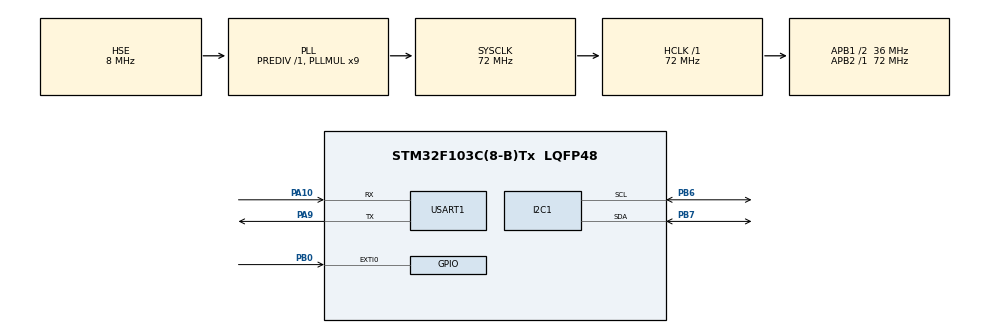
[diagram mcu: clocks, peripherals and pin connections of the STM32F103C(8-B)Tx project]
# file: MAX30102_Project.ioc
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Mcu.Family=STM32F1
Mcu.Name=STM32F103C(8-B)Tx
Mcu.Package=LQFP48
NVIC.EXTI0_IRQn=true\:0\:0\:false\:false\:true\:true\:true\:true
NVIC.PriorityGroup=NVIC_PRIORITYGROUP_4
NVIC.USART1_IRQn=true\:0\:0\:false\:false\:true\:true\:true\:true
PA10.Mode=Asynchronous
PA10.Signal=USART1_RX
PA13.Mode=Serial_Wire
PA13.Signal=SYS_JTMS-SWDIO
PA14.Mode=Serial_Wire
PA14.Signal=SYS_JTCK-SWCLK
PA9.Mode=Asynchronous
PA9.Signal=USART1_TX
PB0.GPIO_ModeDefaultEXTI=GPIO_MODE_IT_FALLING
PB0.GPIO_PuPd=GPIO_PULLUP
PB0.Signal=GPXTI0
PB6.Mode=I2C
PB6.Signal=I2C1_SCL
PB7.Mode=I2C
PB7.Signal=I2C1_SDA
PD0-OSC_IN.Mode=HSE-External-Oscillator
PD0-OSC_IN.Signal=RCC_OSC_IN
PD1-OSC_OUT.Mode=HSE-External-Oscillator
PD1-OSC_OUT.Signal=RCC_OSC_OUT
ProjectManager.HeapSize=0x200
ProjectManager.StackSize=0x400
ProjectManager.TargetToolchain=MDK-ARM V5.32
RCC.AHBFreq_Value=72000000
RCC.APB1CLKDivider=RCC_HCLK_DIV2
RCC.APB1Freq_Value=36000000
RCC.APB1TimFreq_Value=72000000
RCC.APB2Freq_Value=72000000
RCC.APB2TimFreq_Value=72000000
RCC.HCLKFreq_Value=72000000
RCC.PLLMUL=RCC_PLL_MUL9
RCC.PLLSourceVirtual=RCC_PLLSOURCE_HSE
RCC.SYSCLKFreq_VALUE=72000000
RCC.SYSCLKSource=RCC_SYSCLKSOURCE_PLLCLK
RCC.USBFreq_Value=72000000
USART1.VirtualMode=VM_ASYNC
board=custom

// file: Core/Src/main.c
/* USER CODE BEGIN Header */
/**
  ******************************************************************************
  * @file           : main.c
  * @brief          : Main program body
  ******************************************************************************
  * @attention
  *
  * Copyright (c) 2024 STMicroelectronics.
  * All rights reserved.
  *
  * This software is licensed under terms that can be found in the LICENSE file
  * in the root directory of this software component.
  * If no LICENSE file comes with this software, it is provided AS-IS.
  *
  ******************************************************************************
  */
/* USER CODE END Header */
#include "main.h"
#include "i2c.h"
#include "usart.h"
#include "gpio.h"

/* USER CODE BEGIN Includes */
#include "algorithm.h"
#include "max_30102.h"
#include "stdio.h"
/* USER CODE END Includes */

/* USER CODE BEGIN PTD */
int fputc(int ch, FILE *f)
{
	HAL_UART_Transmit(&huart1 , (uint8_t *)&ch, 1, 0xFFFF);
  return ch;
}

/* USER CODE END PTD */

/* USER CODE BEGIN PD */
#define MAX_BRIGHTNESS 255
/* USER CODE END PD */

/* USER CODE BEGIN PV */
uint32_t aun_ir_buffer[500]; //IR LED sensor data
int32_t n_ir_buffer_length;    //data length
uint32_t aun_red_buffer[500];    //Red LED sensor data
int32_t n_sp02; //SPO2 value
int8_t ch_spo2_valid;   //indicator to show if the SP02 calculation is valid 指示SP02计算是否有效的指示器
int32_t n_heart_rate;   //heart rate value 心率值
int8_t  ch_hr_valid;    //indicator to show if the heart rate calculation is valid显示心率计算是否有效的指示器
uint8_t uch_dummy;
/* USER CODE END PV */

void SystemClock_Config(void);

int main(void)
{
  /* USER CODE BEGIN 1 */
	uint32_t un_min, un_max, un_prev_data;  //variables to calculate the on-board LED brightness that reflects the heartbeats
	int i;
	int32_t n_brightness;
	float f_temp;
  /* USER CODE END 1 */

  /* MCU Configuration--------------------------------------------------------*/

  /* Reset of all peripherals, Initializes the Flash interface and the Systick. */
  HAL_Init();

  /* Configure the system clock */
  SystemClock_Config();

  /* Initialize all configured peripherals */
  MX_GPIO_Init();
  MX_I2C1_Init();
  MX_USART1_UART_Init();
  /* USER CODE BEGIN 2 */
	maxim_max30102_reset(); //resets the MAX30102
	//read and clear status register
	maxim_max30102_read_reg(0,&uch_dummy);
	maxim_max30102_init();  //initializes the MAX30102
	printf("初始化完成 \r\n");
	n_brightness=0;
	un_min=0x3FFFF;
	un_max=0;
	n_ir_buffer_length=500; //buffer length of 100 stores 5 seconds of samples running at 100sps
	printf("进入循环 \r\n");
	//read the first 500 samples, and determine the signal range
	for(i=0;i<n_ir_buffer_length;i++)
	{
		// while(INT.read()==1);   //wait until the interrupt pin asserts
		while(HAL_GPIO_ReadPin(GPIOB,GPIO_PIN_0)==1){};   //wait until the interrupt pin asserts
		maxim_max30102_read_fifo((aun_red_buffer+i), (aun_ir_buffer+i));  //read from MAX30102 FIFO
		if(un_min>aun_red_buffer[i])
			un_min=aun_red_buffer[i];    //update signal min

		if(un_max<aun_red_buffer[i])
			un_max=aun_red_buffer[i];    //update signal max
		printf("red=");
		printf("%i", aun_red_buffer[i]);
		printf(", ir=");
		printf("%i \r\n", aun_ir_buffer[i]);
	}
	un_prev_data=aun_red_buffer[i];
	printf("循环完成 \r\n");
	//calculate heart rate and SpO2 after first 500 samples (first 5 seconds of samples)
	maxim_heart_rate_and_oxygen_saturation(aun_ir_buffer, n_ir_buffer_length, aun_red_buffer, &n_sp02, &ch_spo2_valid, &n_heart_rate, &ch_hr_valid);
	printf("开始主循环 \r\n");
  /* USER CODE END 2 */

  /* Infinite loop */
  /* USER CODE BEGIN WHILE */
  while (1)
  {
		i=0;

		un_min=0x3FFFF;

		un_max=0;

		//dumping the first 100 sets of samples in the memory and shift the last 400 sets of samples to the top
		for(i=100;i<500;i++)
		{
		aun_red_buffer[i-100]=aun_red_buffer[i];

			aun_ir_buffer[i-100]=aun_ir_buffer[i];

			//update the signal min and max
			if(un_min>aun_red_buffer[i])

			un_min=aun_red_buffer[i];

			if(un_max<aun_red_buffer[i])
				un_max=aun_red_buffer[i];
		}

		//take 100 sets of samples before calculating the heart rate.
		for(i=400;i<500;i++)
		{
			un_prev_data=aun_red_buffer[i-1];
			//while(INT.read()==1);
			while(HAL_GPIO_ReadPin(GPIOB,GPIO_PIN_0)==1){};   //wait until the interrupt pin asserts

			maxim_max30102_read_fifo((aun_red_buffer+i), (aun_ir_buffer+i));

			if(aun_red_buffer[i]>un_prev_data)//just to determine the brightness of LED according to the deviation of adjacent two AD data
			{
				f_temp=aun_red_buffer[i]-un_prev_data;

				f_temp/=(un_max-un_min);

				f_temp*=MAX_BRIGHTNESS;

				n_brightness-=(int)f_temp;

				if(n_brightness<0)
					n_brightness=0;
			}
			else
			{
				f_temp=un_prev_data-aun_red_buffer[i];

				f_temp/=(un_max-un_min);

				f_temp*=MAX_BRIGHTNESS;

				n_brightness+=(int)f_temp;

				if(n_brightness>MAX_BRIGHTNESS)
					n_brightness=MAX_BRIGHTNESS;
			}

			// pwmled.write(1-(float)n_brightness/256);//pwm control led brightness
//			if(n_brightness<120)
//			{
//				HAL_GPIO_WritePin(LED_GPIO_Port, LED_Pin, GPIO_PIN_SET);
//			}
//			else
//			{
//				HAL_GPIO_WritePin(LED_GPIO_Port, LED_Pin, GPIO_PIN_RESET);
//			}
			//send samples and calculation result to terminal program through UART
			printf("red=");

			printf("%i", aun_red_buffer[i]);

			printf(", ir=");

			printf("%i", aun_ir_buffer[i]);

			printf(", HR=%i, ", n_heart_rate);

			printf("HRvalid=%i, ", ch_hr_valid);

			printf("SpO2=%i, ", n_sp02);

			printf("SPO2Valid=%i\n\r\n\r", ch_spo2_valid);
		}
		maxim_heart_rate_and_oxygen_saturation(aun_ir_buffer, n_ir_buffer_length, aun_red_buffer, &n_sp02, &ch_spo2_valid, &n_heart_rate, &ch_hr_valid);

    /* USER CODE END WHILE */

  }
}

void SystemClock_Config(void)
{
  RCC_OscInitTypeDef RCC_OscInitStruct = {0};
  RCC_ClkInitTypeDef RCC_ClkInitStruct = {0};

  /** Initializes the RCC Oscillators according to the specified parameters
  * in the RCC_OscInitTypeDef structure.
  */
  RCC_OscInitStruct.OscillatorType = RCC_OSCILLATORTYPE_HSE;
  RCC_OscInitStruct.HSEState = RCC_HSE_ON;
  RCC_OscInitStruct.HSEPredivValue = RCC_HSE_PREDIV_DIV1;
  RCC_OscInitStruct.HSIState = RCC_HSI_ON;
  RCC_OscInitStruct.PLL.PLLState = RCC_PLL_ON;
  RCC_OscInitStruct.PLL.PLLSource = RCC_PLLSOURCE_HSE;
  RCC_OscInitStruct.PLL.PLLMUL = RCC_PLL_MUL9;
  if (HAL_RCC_OscConfig(&RCC_OscInitStruct) != HAL_OK)
  {
    Error_Handler();
  }

  /** Initializes the CPU, AHB and APB buses clocks
  */
  RCC_ClkInitStruct.ClockType = RCC_CLOCKTYPE_HCLK|RCC_CLOCKTYPE_SYSCLK
                              |RCC_CLOCKTYPE_PCLK1|RCC_CLOCKTYPE_PCLK2;
  RCC_ClkInitStruct.SYSCLKSource = RCC_SYSCLKSOURCE_PLLCLK;
  RCC_ClkInitStruct.AHBCLKDivider = RCC_SYSCLK_DIV1;
  RCC_ClkInitStruct.APB1CLKDivider = RCC_HCLK_DIV2;
  RCC_ClkInitStruct.APB2CLKDivider = RCC_HCLK_DIV1;

  if (HAL_RCC_ClockConfig(&RCC_ClkInitStruct, FLASH_LATENCY_2) != HAL_OK)
  {
    Error_Handler();
  }
}

void Error_Handler(void)
{
  __disable_irq();
  while (1)
  {
  }
}
